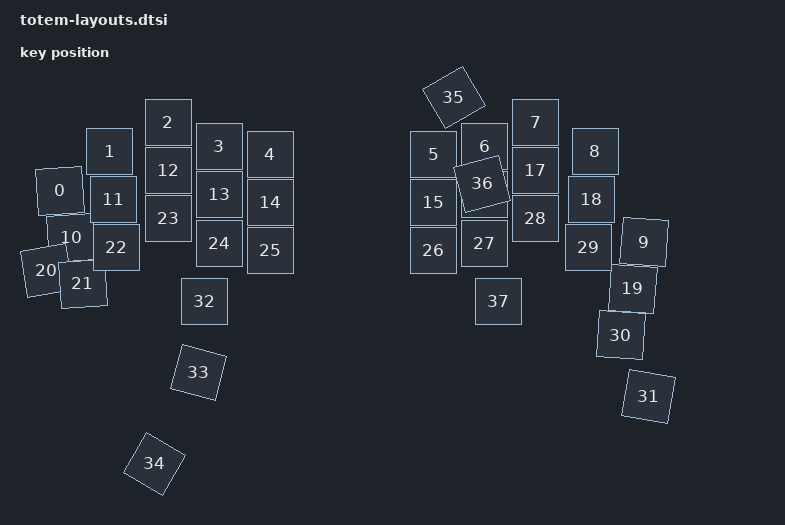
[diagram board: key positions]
#include <physical_layouts.dtsi>

/ {
    totem_layout: totem_layout {
        compatible = "zmk,physical-layout";
        display-name = "Default Layout";
        transform = <&default_transform>;
        kscan = <&kscan0>;

        keys = <
            /* Top Row - Left */
            &key_physical_attrs 100 100 85 149 (-400) 0 0   /* RC(0,0) */
            &key_physical_attrs 100 100 199 61 0 0 0        /* RC(0,1) */
            &key_physical_attrs 100 100 316 3 0 0 0         /* RC(0,2) */
            &key_physical_attrs 100 100 418 51 0 0 0        /* RC(0,3) */
            &key_physical_attrs 100 100 520 66 0 0 0        /* RC(0,4) */
            
            /* Top Row - Right */
            &key_physical_attrs 100 100 847 66 0 0 0        /* RC(0,5) */
            &key_physical_attrs 100 100 949 51 0 0 0        /* RC(0,6) */
            &key_physical_attrs 100 100 1051 3 0 0 0        /* RC(0,7) */
            &key_physical_attrs 100 100 1170 61 0 0 0       /* RC(0,8) */
            &key_physical_attrs 100 100 1285 149 400 0 0    /* RC(0,9) */

            /* Home Row - Left */
            &key_physical_attrs 100 100 101 244 (-400) 0 0  /* RC(1,0) */
            &key_physical_attrs 100 100 206 157 0 0 0       /* RC(1,1) */
            &key_physical_attrs 100 100 316 99 0 0 0        /* RC(1,2) */
            &key_physical_attrs 100 100 418 147 0 0 0       /* RC(1,3) */
            &key_physical_attrs 100 100 520 162 0 0 0       /* RC(1,4) */

            /* Home Row - Right */
            &key_physical_attrs 100 100 847 162 0 0 0       /* RC(1,5) */
            &key_physical_attrs 100 100 949 147 0 0 0       /* RC(1,6) */
            &key_physical_attrs 100 100 1051 99 0 0 0       /* RC(1,7) */
            &key_physical_attrs 100 100 1163 157 0 0 0      /* RC(1,8) */
            &key_physical_attrs 100 100 1268 244 400 0 0    /* RC(1,9) */

            /* Outer Pinky - Left */
            &key_physical_attrs 100 100 10 314 (-1000) 0 0  /* RC(3,0) */

            /* Bottom Row - Left */
            &key_physical_attrs 100 100 118 338 (-400) 0 0  /* RC(2,0) */
            &key_physical_attrs 100 100 213 253 0 0 0       /* RC(2,1) */
            &key_physical_attrs 100 100 316 195 0 0 0       /* RC(2,2) */
            &key_physical_attrs 100 100 418 244 0 0 0       /* RC(2,3) */
            &key_physical_attrs 100 100 520 259 0 0 0       /* RC(2,4) */

            /* Bottom Row - Right */
            &key_physical_attrs 100 100 847 259 0 0 0       /* RC(2,5) */
            &key_physical_attrs 100 100 949 244 0 0 0       /* RC(2,6) */
            &key_physical_attrs 100 100 1051 195 0 0 0      /* RC(2,7) */
            &key_physical_attrs 100 100 1157 253 0 0 0      /* RC(2,8) */
            &key_physical_attrs 100 100 1251 338 400 0 0    /* RC(2,9) */

            /* Outer Pinky - Right */
            &key_physical_attrs 100 100 1360 311 1000 0 0   /* RC(3,9) */

            /* Thumb Cluster - Left */
            &key_physical_attrs 100 100 389 361 0 0 0       /* RC(3,2) */
            &key_physical_attrs 100 100 505 373 1500 0 0    /* RC(3,3) */
            &key_physical_attrs 100 100 610 417 3000 0 0    /* RC(3,4) */

            /* Thumb Cluster - Right */
            &key_physical_attrs 100 100 760 420 (-3000) 0 0 /* RC(3,5) */
            &key_physical_attrs 100 100 864 376 (-1500) 0 0 /* RC(3,6) */
            &key_physical_attrs 100 100 977 361 0 0 0       /* RC(3,7) */
        >;
    };
};
